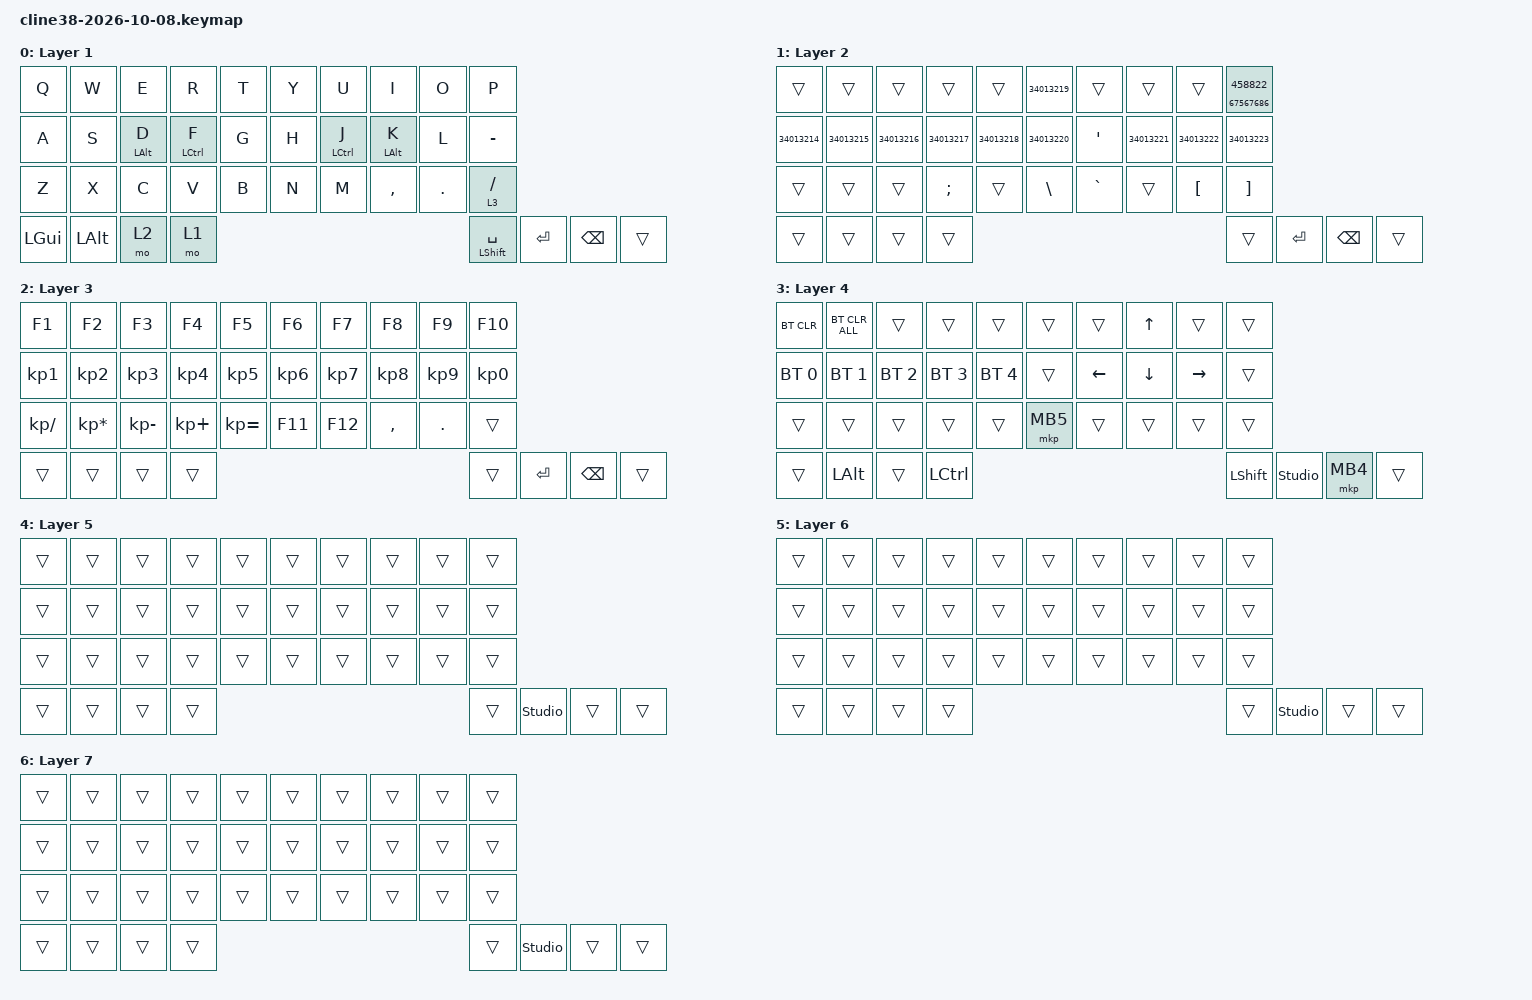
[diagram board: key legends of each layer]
/*
 * Generated by Keyboard Abyss - CLine38 — 2026-10-08 v2
 * https://abyss.keyboard-hub.com/keymap/01M4E82RY5RCN21KZRQJ1ZXCQS
 */

/ {
    keymap {
        compatible = "zmk,keymap";

        layer_1_layer {
            display-name = "Layer 1";
            bindings = <
                &kp Q    &kp W    &kp E    &kp R    &kp T    &kp Y    &kp U    &kp I    &kp O    &kp P
                &kp A    &kp S    &mt LEFT_ALT D    &mt LEFT_CONTROL F    &kp G    &kp H    &mt LEFT_CONTROL J    &mt LEFT_ALT K    &kp L    &kp MINUS
                &kp Z    &kp X    &kp C    &kp V    &kp B    &kp N    &kp M    &kp COMMA    &kp PERIOD    &lt 3 SLASH
                &kp LEFT_GUI    &kp LEFT_ALT    &mo 2    &mo 1    &mt LEFT_SHIFT SPACE    &kp RETURN    &kp BACKSPACE    &trans
            >;
        };

        layer_2_layer {
            display-name = "Layer 2";
            bindings = <
                &trans    &trans    &trans    &trans    &trans    &kp 34013219    &trans    &trans    &trans    &mt 67567686 458822
                &kp 34013214    &kp 34013215    &kp 34013216    &kp 34013217    &kp 34013218    &kp 34013220    &kp SQT    &kp 34013221    &kp 34013222    &kp 34013223
                &trans    &trans    &trans    &kp SEMICOLON    &trans    &kp BACKSLASH    &kp GRAVE    &trans    &kp LEFT_BRACKET    &kp RIGHT_BRACKET
                &trans    &trans    &trans    &trans    &trans    &kp RETURN    &kp BACKSPACE    &trans
            >;
        };

        layer_3_layer {
            display-name = "Layer 3";
            bindings = <
                &kp F1    &kp F2    &kp F3    &kp F4    &kp F5    &kp F6    &kp F7    &kp F8    &kp F9    &kp F10
                &kp KP_N1    &kp KP_N2    &kp KP_N3    &kp KP_N4    &kp KP_N5    &kp KP_N6    &kp KP_N7    &kp KP_N8    &kp KP_N9    &kp KP_N0
                &kp KP_FSLH    &kp KP_ASTERISK    &kp KP_MINUS    &kp KP_PLUS    &kp KP_EQUAL    &kp F11    &kp F12    &kp COMMA    &kp PERIOD    &trans
                &trans    &trans    &trans    &trans    &trans    &kp RETURN    &kp BACKSPACE    &trans
            >;
        };

        layer_4_layer {
            display-name = "Layer 4";
            bindings = <
                &bt BT_CLR    &bt BT_CLR_ALL    &trans    &trans    &trans    &trans    &trans    &kp UP    &trans    &trans
                &bt BT_SEL 0    &bt BT_SEL 1    &bt BT_SEL 2    &bt BT_SEL 3    &bt BT_SEL 4    &trans    &kp LEFT    &kp DOWN    &kp RIGHT    &trans
                &trans    &trans    &trans    &trans    &trans    &mkp MB5    &trans    &trans    &trans    &trans
                &trans    &kp LEFT_ALT    &trans    &kp LEFT_CONTROL    &kp LEFT_SHIFT    &studio_unlock    &mkp MB4    &trans
            >;
        };

        layer_5_layer {
            display-name = "Layer 5";
            bindings = <
                &trans    &trans    &trans    &trans    &trans    &trans    &trans    &trans    &trans    &trans
                &trans    &trans    &trans    &trans    &trans    &trans    &trans    &trans    &trans    &trans
                &trans    &trans    &trans    &trans    &trans    &trans    &trans    &trans    &trans    &trans
                &trans    &trans    &trans    &trans    &trans    &studio_unlock    &trans    &trans
            >;
        };

        layer_6_layer {
            display-name = "Layer 6";
            bindings = <
                &trans    &trans    &trans    &trans    &trans    &trans    &trans    &trans    &trans    &trans
                &trans    &trans    &trans    &trans    &trans    &trans    &trans    &trans    &trans    &trans
                &trans    &trans    &trans    &trans    &trans    &trans    &trans    &trans    &trans    &trans
                &trans    &trans    &trans    &trans    &trans    &studio_unlock    &trans    &trans
            >;
        };

        layer_7_layer {
            display-name = "Layer 7";
            bindings = <
                &trans    &trans    &trans    &trans    &trans    &trans    &trans    &trans    &trans    &trans
                &trans    &trans    &trans    &trans    &trans    &trans    &trans    &trans    &trans    &trans
                &trans    &trans    &trans    &trans    &trans    &trans    &trans    &trans    &trans    &trans
                &trans    &trans    &trans    &trans    &trans    &studio_unlock    &trans    &trans
            >;
        };
    };
};
